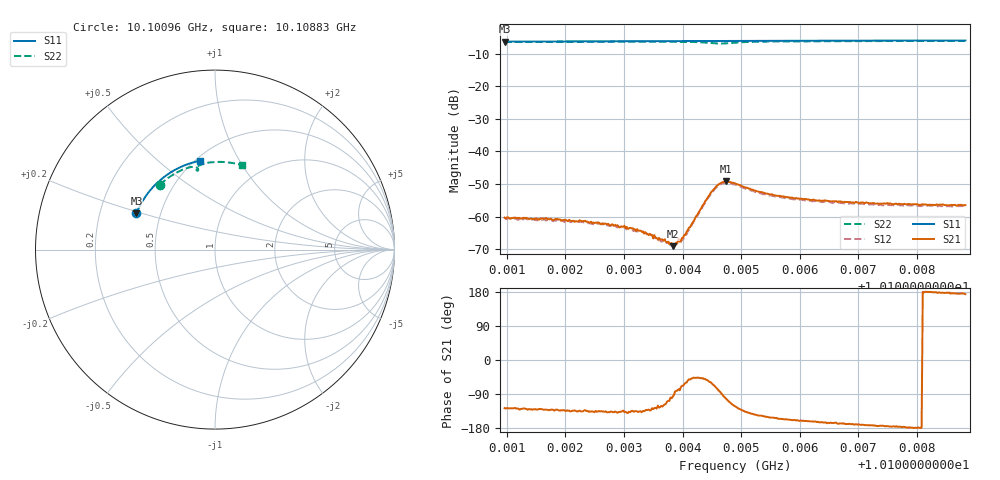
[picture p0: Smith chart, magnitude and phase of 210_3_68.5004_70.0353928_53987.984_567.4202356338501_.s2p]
#  HZ  S  RI  R  50.00
! Rohde & Schwarz Vector Network Analyzer
! Rohde-Schwarz,ZNB20-2Port,1311601062101988,3.16
! Created: UTC 3/20/2024, 4:58:00 PM
! freq[Hz]  re:S11  im:S11  re:S21  im:S21  re:S12  im:S12  re:S22  im:S22
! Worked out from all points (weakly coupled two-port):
!   401 points, 10.10096 GHz to 10.10883 GHz, reference 50 ohm
!   highest |S21| = -49.18 dB at 10.10474 GHz (marker M1); lowest = -69.0 dB at 10.10383 GHz (marker M2)
!   lowest |S11| = -6.3 dB at 10.10096 GHz (marker M3), VSWR 2.86, Z = 18.2 + j9.55 ohm
!   |S11| at or under -10 dB: nowhere
!   |S22| runs from -6.9 to -6.1 dB; largest |S21 - S12| = 0.00036
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1.010096e10  -0.4377 0.2012  -0.000583 -0.000772  -0.000498 -0.000838  -0.3074 0.3613
1.0102278e10  -0.402 0.2732  -0.000616 -0.0006  -0.000535 -0.000629  -0.2397 0.4137
1.0102987e10  -0.378 0.309  -0.000482 -0.000507  -0.00048 -0.000509  -0.1989 0.4368
1.0103144e10  -0.3723 0.3165  -0.000464 -0.000481  -0.000409 -0.00047  -0.1894 0.4414
1.0103341e10  -0.3649 0.3259  -0.000395 -0.000389  -0.000346 -0.000465  -0.177 0.4467
1.0103479e10  -0.3595 0.3324  -0.000318 -0.000418  -0.000313 -0.000413  -0.1681 0.4501
1.0103597e10  -0.3548 0.3377  -0.000277 -0.000385  -0.000208 -0.00038  -0.1604 0.4529
1.0103833e10  -0.3453 0.3486  -4.09e-05 -0.000352  -1.73e-05 -0.000356  -0.1437 0.4578
1.0103872e10  -0.3438 0.3502  4.46e-05 -0.000375  3.68e-05 -0.000382  -0.1409 0.4585
1.0103931e10  -0.3413 0.3528  0.000104 -0.000451  0.0001 -0.000385  -0.1364 0.4594
1.010401e10  -0.3378 0.3564  0.000183 -0.000444  0.000236 -0.000379  -0.1304 0.4603
1.0104108e10  -0.3337 0.3606  0.000427 -0.000526  0.000422 -0.000456  -0.1226 0.4611
1.0104404e10  -0.3209 0.373  0.00111 -0.00143  0.0012 -0.00128  -0.0981 0.4545
1.0104522e10  -0.3156 0.3778  0.00106 -0.00234  0.00122 -0.00213  -0.0932 0.4462
1.010464e10  -0.3103 0.3825  0.000337 -0.00322  0.000577 -0.00306  -0.0965 0.4397
1.0104738e10  -0.3059 0.3864  -0.000681 -0.00341  -0.000377 -0.00329  -0.102 0.4415
1.0104896e10  -0.2987 0.3926  -0.00174 -0.00273  -0.00144 -0.00275  -0.1027 0.4532
1.010525e10  -0.282 0.406  -0.00202 -0.00144  -0.00182 -0.00154  -0.0811 0.4723
1.0105466e10  -0.2715 0.4138  -0.00195 -0.00109  -0.00175 -0.00122  -0.0658 0.478
1.0106214e10  -0.2335 0.4384  -0.00172 -0.000548  -0.00158 -0.000658  -0.0148 0.4871
1.0107533e10  -0.1614 0.4728  -0.00159 -0.000118  -0.00149 -0.000268  0.0714 0.4861
1.0108831e10  -0.0859 0.4944  -0.0015 0.000163  -0.00143 -1.84e-05  0.1529 0.4698
